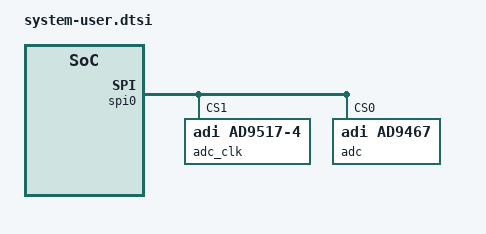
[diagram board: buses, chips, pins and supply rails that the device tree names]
#include <dma/axi-dmac.h>
/include/ "system-conf.dtsi"
/ {

};
	
	&amba {

		/delete-node/ spi@e0006000;

		spi0: spi@e0006000 {
			compatible = "xlnx,zynq-spi-r1p6";
			reg = <0xe0006000 0x1000>;
			status = "okay";
			interrupt-parent = <&intc>;
			interrupts = <0 26 4>;
			clocks = <&clkc 25>, <&clkc 34>;
			clock-names = "ref_clk", "pclk";
			#address-cells = <1>;
			#size-cells = <0>;

			adc_clk: ad9517@1 {
				compatible = "adi,ad9517-4";
				clocks = <0x7 0x7>;
				clock-names = "refclk", "clkin";
				#address-cells = <0x1>;
				#size-cells = <0x0>;
				#clock-cells = <0x1>;
				reg = <0x1>;
				clock-output-names = "out0", "out1", "out2", "adc-clk", "out4", "out5", "out6", "out7";			
			};

			adc@0 {
            	compatible = "adi,ad9467";
            	reg = <0>;
            	clocks = <&adc_clk>;
            	clock-names = "adc-clk";
            	io-backends = <&iio_backend>;
        	};		
		};
	};


	&amba_pl {
		//Delete ADC Node
		/delete-node/ axi_ad9467@43c00000;
		/delete-node/ axi_dmac@43c10000;

		//Modification of DMAC node for analog driver
		axi_dmac_0: axi_dmac@43c10000 {
				compatible = "adi,axi-dmac-1.00.a";
				reg = <0x43c10000 0x10000>;
				clocks = <&clkc 16>;
				interrupt-names = "irq";
				interrupt-parent = <&intc>;
				interrupts = <0 29 4>;
				#dma-cells = <1>;

				adi,channels {
					#size-cells = <0>;
					#address-cells = <1>;

					dma-channel@0 {
						reg = <0>;
						adi,source-bus-width = <16>;
						adi,source-bus-type = <AXI_DMAC_TYPE_AXI_FIFO>;
						adi,destination-bus-width = <64>;
						adi,destination-bus-type = <AXI_DMAC_TYPE_AXI_MM>;
					};
				};
		};

	};

